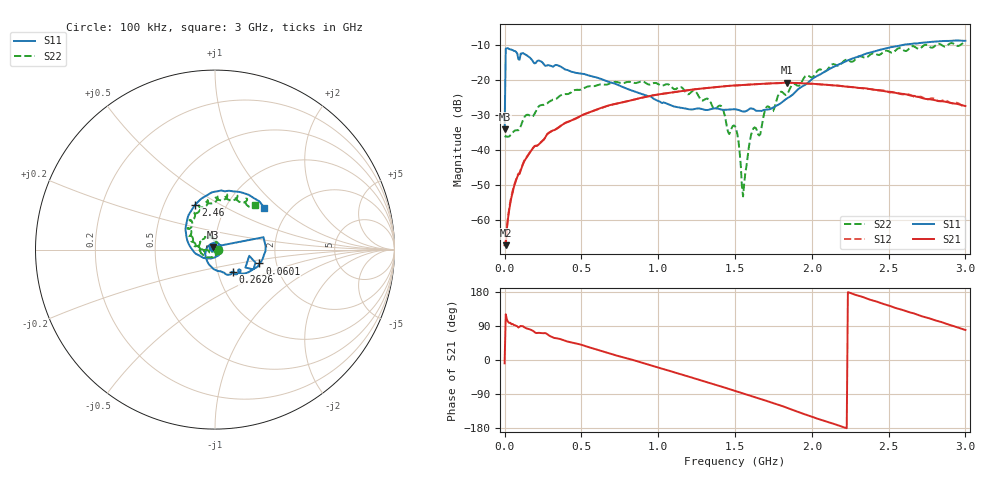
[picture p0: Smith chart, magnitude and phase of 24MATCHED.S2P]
!Agilent Technologies,E5071C,MY46107260,A.09.30
!Date: Mon Jan 01 00:34:25 2001
!Data & Calibration Information:
!Freq	S11:SOLT2(ON)	S21:SOLT2(ON)	S12:SOLT2(ON)	S22:SOLT2(ON)
# Hz S dB R 50
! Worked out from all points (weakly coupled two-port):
!   401 points, 100 kHz to 3 GHz, reference 50 ohm
!   highest |S21| = -20.79 dB at 1.838 GHz (marker M1); lowest = -67.1 dB at 7.6 MHz (marker M2)
!   lowest |S11| = -34.1 dB at 100 kHz (marker M3), VSWR 1.04, Z = 48.6 + j1.37 ohm
!   |S11| at or under -10 dB: start of sweep to 2.594 GHz
!   |S22| runs from -53.2 to -9.4 dB; largest |S21 - S12| = 0.0026
!   S11 on the Smith chart (normalised r, x): 100 kHz: 0.97, +0.03; 60.1 MHz: 1.63, -0.27; 262.6 MHz: 1.18, -0.30; 2.46 GHz: 0.72, +0.39; 3 GHz: 1.50, +0.80
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100000  -34.11 134.3  -67.08 -8.8  -67.35 -9.3  -36.28 -2.0
7599750  -11.08 14.3  -67.12 120.6  -65.78 122.0  -36.02 -5.4
2.259925e7  -11.01 -1.8  -59.37 101.0  -58.87 98.0  -36.19 -17.6
6.0098e7  -11.72 -17.3  -50.53 92.4  -50.19 90.3  -34.63 -43.4
1.425952e8  -12.95 -34.0  -42.14 83.4  -42.01 81.8  -29.97 -78.8
2.625912e8  -15.92 -51.1  -36.58 71.2  -36.53 70.4  -27.00 -111.2
5.025832e8  -18.23 -78.7  -30.10 40.0  -30.13 39.9  -22.70 -158.5
1.005066e9  -26.06 -177.7  -24.11 -20.4  -24.11 -20.4  -21.32 126.6
1.237559e9  -28.29 105.6  -22.66 -48.8  -22.67 -48.7  -23.11 95.2
1.410053e9  -28.43 51.2  -21.89 -70.0  -21.90 -70.0  -27.46 79.1
1.455052e9  -28.46 34.6  -21.70 -75.7  -21.72 -75.7  -34.84 77.3
1.50005e9  -28.36 19.9  -21.59 -81.6  -21.60 -81.6  -33.19 69.1
1.545048e9  -28.93 4.6  -21.48 -87.0  -21.49 -87.1  -50.30 109.4
1.560048e9  -29.01 -2.0  -21.43 -88.9  -21.45 -88.8  -49.49 51.7
1.620046e9  -28.23 -18.6  -21.27 -96.7  -21.24 -96.6  -33.80 -162.4
1.657545e9  -28.82 -37.9  -21.16 -101.7  -21.16 -101.5  -35.83 -149.9
1.702543e9  -28.47 -59.0  -21.06 -107.6  -21.07 -107.5  -27.92 -164.0
1.837539e9  -25.29 -114.4  -20.79 -126.2  -20.80 -125.9  -24.16 -174.2
2.002533e9  -19.75 -164.4  -21.09 -149.9  -21.11 -150.0  -19.25 168.6
2.460018e9  -11.25 113.6  -23.11 148.7  -22.99 149.5  -12.27 109.5
2.505016e9  -10.78 107.0  -23.37 143.2  -23.55 143.0  -11.96 110.0
3e9  -8.86 40.5  -27.45 79.2  -27.59 80.0  -9.48 48.0
